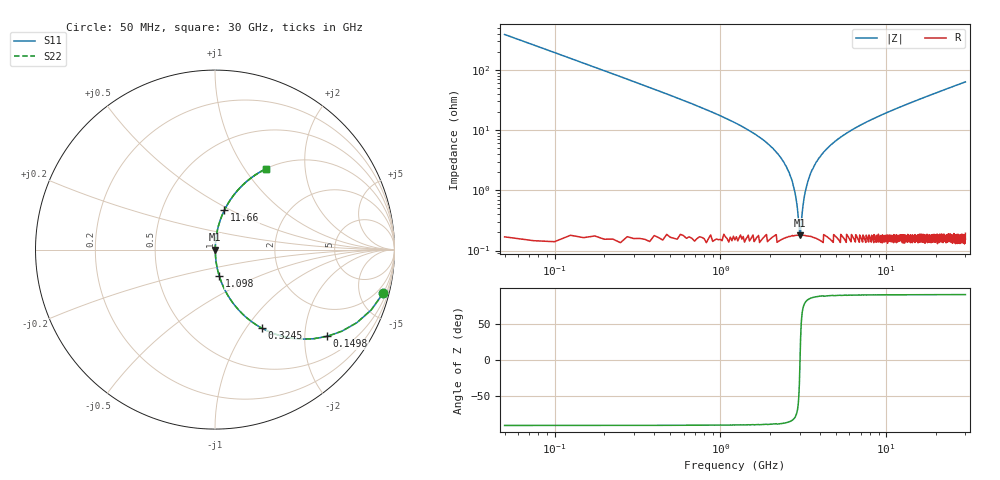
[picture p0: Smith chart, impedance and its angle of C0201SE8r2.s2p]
!	AVX Thin Film Operation 	Date: April 2014
!	Description: Accu-P® Series, Thin Film  SMD RF Capacitor
!	Part Number: 0201YK8R2BBSTR
# MHZ S MA R 50
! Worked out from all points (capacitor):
!   1201 points, 50 MHz to 30 GHz, reference 50 ohm
!   read as one part in series: C = 8.2 pF near 199.8 MHz
!   lowest |Z| = 180 mohm at 3.02 GHz (marker M1)
!   series resonance near 3.021 GHz, so ESL is about 340 pH
!   S11 on the Smith chart (normalised r, x): 50 MHz: 1.01, -7.76; 149.8 MHz: 1.00, -2.58; 324.5 MHz: 1.00, -1.18; 1.098 GHz: 1.00, -0.31; 11.66 GHz: 1.00, +0.46; 30 GHz: 1.00, +1.26
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50  0.968 -14.4  0.25 75.5  0.25 75.5  0.968 -14.4
149.833  0.79 -37.7  0.612 52.2  0.612 52.2  0.79 -37.7
324.542  0.508 -59.3  0.86 30.5  0.86 30.5  0.508 -59.3
574.125  0.309 -71.7  0.949 18.0  0.949 18.0  0.309 -71.7
1098.25  0.151 -80.7  0.987 8.7  0.987 8.7  0.151 -80.7
1946.833  0.058 -85.1  0.997 3.3  0.997 3.3  0.058 -85.1
2446  0.027 -85.1  0.998 1.6  0.998 1.6  0.027 -85.1
2695.583  0.015 -82.9  0.998 0.8  0.998 0.8  0.015 -82.9
2920.208  0.004627 -69.6  0.998 0.2  0.998 0.2  0.004627 -69.6
3020.042  0.001598 -1.0  0.998 0.0  0.998 0.0  0.001598 -1.0
3119.875  0.004442 68.7  0.998 -0.2  0.998 -0.2  0.004442 68.7
3369.458  0.014 82.7  0.998 -0.8  0.998 -0.8  0.014 82.7
3644  0.024 84.8  0.998 -1.4  0.998 -1.4  0.024 84.8
4193.083  0.043 85.4  0.997 -2.5  0.997 -2.5  0.043 85.4
5041.667  0.068 84.7  0.996 -3.9  0.996 -3.9  0.068 84.7
7013.375  0.12 82.3  0.991 -6.9  0.991 -6.9  0.12 82.3
10058.29  0.191 78.5  0.98 -11.0  0.98 -11.0  0.191 78.5
11655.62  0.225 76.6  0.973 -13.0  0.973 -13.0  0.225 76.6
15025  0.293 72.7  0.955 -17.0  0.955 -17.0  0.293 72.7
20016.67  0.384 67.2  0.922 -22.6  0.922 -22.6  0.384 67.2
25033.29  0.464 62.2  0.884 -27.6  0.884 -27.6  0.464 62.2
30000  0.533 57.6  0.844 -32.2  0.844 -32.2  0.533 57.6
